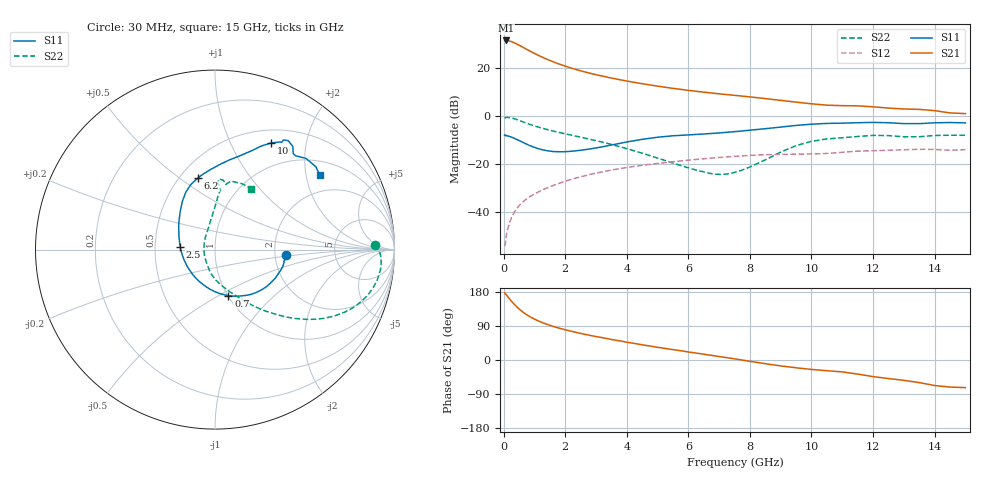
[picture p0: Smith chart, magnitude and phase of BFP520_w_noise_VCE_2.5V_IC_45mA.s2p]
! Infineon Technologies  Discrete & RF Semiconductors
! BFP520
! VCE =  2.5 V,  IC =  45 mA
! Common Emitter S-Parameters:  Oct 2015
# GHz  S  MA  R  50
!  f  S11  S21  S12  S22
! GHz  MAG  ANG  MAG  ANG  MAG  ANG  MAG  ANG
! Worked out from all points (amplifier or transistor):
!   109 points, 30 MHz to 15 GHz, reference 50 ohm
!   highest |S21| = 31.2 dB at 70 MHz (marker M1)
!   |S21| within 3 dB of that: start of sweep to 651.6 MHz
!   unconditionally stable (mu >= 1): start of sweep to 37.18 MHz; 2.017 GHz to end of sweep
!   at 450 MHz: K = 0.48, MSG = 33.8 dB, |S12| = -38.0 dB
!   at 4 GHz: K = 1.16, MAG = 15.5 dB, |S12| = -21.4 dB
!   at 15 GHz: K = 1.27, MAG = 4.3 dB, |S12| = -14.0 dB
!   lowest NFmin = 3.07 dB at 450 MHz
!   S11 on the Smith chart (normalised r, x): 30 MHz: 2.30, -0.17; 700 MHz: 1.01, -0.56; 2.5 GHz: 0.68, +0.02; 6.2 GHz: 0.61, +0.59; 10 GHz: 0.67, +1.44; 15 GHz: 1.42, +2.40
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0.03  0.3976 -4.6  36.33 177.6  0.002 110.7  0.8919 1.7
0.07  0.3889 -9.6  36.41 173.3  0.0028 93.4  0.9201 -1.4
0.14  0.3837 -17.9  36.03 166.3  0.0047 86.3  0.9289 -6.5
0.2  0.3726 -24.9  35.3 160.3  0.0064 82.1  0.9201 -10.5
0.25  0.3622 -30.5  34.51 155.4  0.0077 80.7  0.9065 -13.6
0.35  0.3417 -41.3  32.5 146.4  0.0102 77.6  0.8692 -19.0
0.5  0.3084 -55.8  29.08 134.8  0.0138 74.7  0.8041 -25.6
0.7  0.2675 -73.8  24.79 122.1  0.0181 72.2  0.7202 -32.1
0.8  0.2498 -82.1  22.86 116.8  0.0201 71.3  0.683 -34.6
1  0.2225 -97.3  19.63 107.9  0.0241 70.1  0.619 -38.7
1.3  0.1959 -118.7  15.91 97.3  0.03 68.6  0.5438 -43.6
1.8  0.1809 -149.8  11.84 84.1  0.04 65.8  0.453 -49.8
2.5  0.194 175.7  8.581 70.2  0.0546 60.8  0.3617 -57.2
2.6  0.198 171.7  8.233 68.4  0.0567 60.0  0.3501 -58.3
3.5  0.2496 144.0  6.057 54.2  0.0754 52.1  0.2559 -69.5
5.1  0.3658 115.2  4.033 32.3  0.105 37.2  0.1272 -102.3
6.2  0.4101 103.3  3.257 18.9  0.1242 27.1  0.0768 -133.4
7.6  0.4767 86.3  2.617 1.8  0.1461 13.6  0.0702 147.7
10  0.6716 62.2  1.776 -24.9  0.1624 -7.9  0.2972 86.8
10.5  0.6969 59.3  1.662 -28.3  0.1663 -10.3  0.3323 85.1
13  0.6899 50.8  1.387 -53.7  0.1982 -32.0  0.3678 80.4
15  0.7156 35.3  1.112 -72.9  0.1994 -48.4  0.3955 59.3
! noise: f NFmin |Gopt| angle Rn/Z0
0.45  3.07  0.16  -154  0.29
0.9  3.08  0.17  -149  0.32
1.9  3.17  0.24  -125  0.36
2.4  3.18  0.24  -123  0.34
3.5  3.14  0.23  -108  0.41
